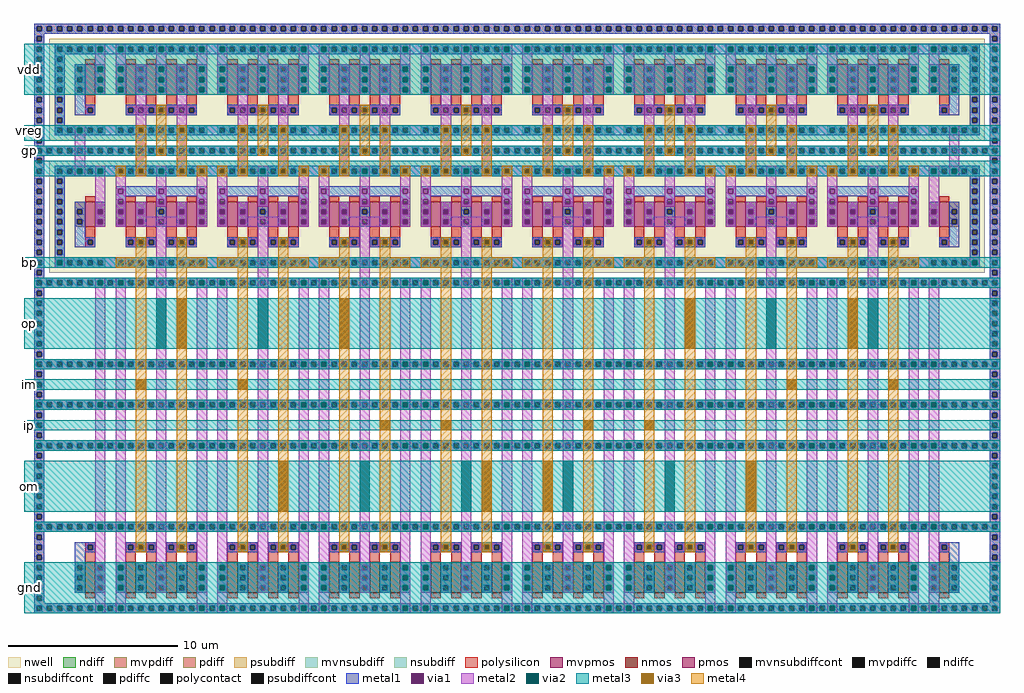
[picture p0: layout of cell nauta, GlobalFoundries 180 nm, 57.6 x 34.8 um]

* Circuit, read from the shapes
.subckt nauta ip im op om vdd gp bp vreg gnd
XM1 gnd nauta_edge_0/lo nauta_edge_0/lo gnd nfet_03v3 w=1.8u l=0.6u
XM2 nauta_cell_0/dl im gnd gnd nfet_03v3 w=1.8u l=0.6u
XM3 op im nauta_cell_0/dl gnd nfet_03v3 w=1.8u l=0.6u
XM4 nauta_cell_0/dr op op gnd nfet_03v3 w=1.8u l=0.6u
XM5 gnd op nauta_cell_0/dr gnd nfet_03v3 w=1.8u l=0.6u
XM6 nauta_cell_1/dl im gnd gnd nfet_03v3 w=1.8u l=0.6u
XM7 op im nauta_cell_1/dl gnd nfet_03v3 w=1.8u l=0.6u
XM8 nauta_cell_1/dr om op gnd nfet_03v3 w=1.8u l=0.6u
XM9 gnd om nauta_cell_1/dr gnd nfet_03v3 w=1.8u l=0.6u
XM10 nauta_cell_2/dl op gnd gnd nfet_03v3 w=1.8u l=0.6u
XM11 om op nauta_cell_2/dl gnd nfet_03v3 w=1.8u l=0.6u
XM12 nauta_cell_2/dr ip om gnd nfet_03v3 w=1.8u l=0.6u
XM13 gnd ip nauta_cell_2/dr gnd nfet_03v3 w=1.8u l=0.6u
XM14 nauta_cell_3/dl ip gnd gnd nfet_03v3 w=1.8u l=0.6u
XM15 om ip nauta_cell_3/dl gnd nfet_03v3 w=1.8u l=0.6u
XM16 nauta_cell_3/dr om om gnd nfet_03v3 w=1.8u l=0.6u
XM17 gnd om nauta_cell_3/dr gnd nfet_03v3 w=1.8u l=0.6u
XM18 nauta_cell_7/dl om gnd gnd nfet_03v3 w=1.8u l=0.6u
XM19 om om nauta_cell_7/dl gnd nfet_03v3 w=1.8u l=0.6u
XM20 nauta_cell_7/dr ip om gnd nfet_03v3 w=1.8u l=0.6u
XM21 gnd ip nauta_cell_7/dr gnd nfet_03v3 w=1.8u l=0.6u
XM22 nauta_cell_6/dl ip gnd gnd nfet_03v3 w=1.8u l=0.6u
XM23 om ip nauta_cell_6/dl gnd nfet_03v3 w=1.8u l=0.6u
XM24 nauta_cell_6/dr op om gnd nfet_03v3 w=1.8u l=0.6u
XM25 gnd op nauta_cell_6/dr gnd nfet_03v3 w=1.8u l=0.6u
XM26 nauta_cell_5/dl om gnd gnd nfet_03v3 w=1.8u l=0.6u
XM27 op om nauta_cell_5/dl gnd nfet_03v3 w=1.8u l=0.6u
XM28 nauta_cell_5/dr im op gnd nfet_03v3 w=1.8u l=0.6u
XM29 gnd im nauta_cell_5/dr gnd nfet_03v3 w=1.8u l=0.6u
XM30 nauta_cell_4/dl op gnd gnd nfet_03v3 w=1.8u l=0.6u
XM31 op op nauta_cell_4/dl gnd nfet_03v3 w=1.8u l=0.6u
XM32 nauta_cell_4/dr im op gnd nfet_03v3 w=1.8u l=0.6u
XM33 gnd im nauta_cell_4/dr gnd nfet_03v3 w=1.8u l=0.6u
XM34 nauta_edge_1/lo nauta_edge_1/lo gnd gnd nfet_03v3 w=1.8u l=0.6u
XM35 vreg nauta_edge_0/hi nauta_edge_0/hi bp pfet_03v3 w=1.5u l=0.6u
XM36 vdd nauta_edge_0/hih nauta_edge_0/hih vdd pfet_06v0 w=1.8u l=0.6u
XM37 op im vreg bp pfet_03v3 w=1.5u l=0.6u m=8
XM38 vreg gp vdd vdd pfet_06v0 w=1.8u l=0.6u m=32
XM39 op op vreg bp pfet_03v3 w=1.5u l=0.6u m=4
XM40 op om vreg bp pfet_03v3 w=1.5u l=0.6u m=4
XM41 om op vreg bp pfet_03v3 w=1.5u l=0.6u m=4
XM42 om ip vreg bp pfet_03v3 w=1.5u l=0.6u m=8
XM43 om om vreg bp pfet_03v3 w=1.5u l=0.6u m=4
XM44 nauta_edge_1/hi nauta_edge_1/hi vreg bp pfet_03v3 w=1.5u l=0.6u
XM45 nauta_edge_1/hih nauta_edge_1/hih vdd vdd pfet_06v0 w=1.8u l=0.6u
.ends

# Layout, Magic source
magic
tech gf180mcuC
<< metal1 >>
rect -924 240 -912 252
rect -12 240 0 252
<< via2 >>
rect -888 144 -876 204
rect -768 144 -756 204
rect -168 144 -156 204
rect -48 144 -36 204
rect -648 -48 -636 12
rect -528 -48 -516 12
rect -408 -48 -396 12
rect -288 -48 -276 12
<< metal3 >>
rect -1044 444 -1032 504
rect -1044 390 -1032 408
rect -1044 372 -1032 384
rect -1044 240 -1032 252
rect -948 240 -886 252
rect -38 240 24 252
rect -1044 144 -1032 204
rect -1044 96 -1032 108
rect -1044 48 -1032 60
rect -1044 -48 -1032 12
rect -1044 -168 -1032 -108
<< via3 >>
rect -864 144 -852 204
rect -672 144 -660 204
rect -264 144 -252 204
rect -72 144 -60 204
rect -912 96 -900 108
rect -792 96 -780 108
rect -144 96 -132 108
rect -24 96 -12 108
rect -624 48 -612 60
rect -552 48 -540 60
rect -384 48 -372 60
rect -312 48 -300 60
rect -744 -48 -732 12
rect -504 -48 -492 12
rect -432 -48 -420 12
rect -192 -48 -180 12
use nauta_cell  nauta_cell_0
transform 1 0 -228 0 1 -36
box -720 -132 -588 564
use nauta_cell  nauta_cell_1
transform 1 0 -108 0 1 -36
box -720 -132 -588 564
use nauta_cell  nauta_cell_2
transform 1 0 12 0 1 -36
box -720 -132 -588 564
use nauta_cell  nauta_cell_3
transform 1 0 132 0 1 -36
box -720 -132 -588 564
use nauta_cell  nauta_cell_4
transform 1 0 612 0 1 -36
box -720 -132 -588 564
use nauta_cell  nauta_cell_5
transform 1 0 492 0 1 -36
box -720 -132 -588 564
use nauta_cell  nauta_cell_6
transform 1 0 372 0 1 -36
box -720 -132 -588 564
use nauta_cell  nauta_cell_7
transform 1 0 252 0 1 -36
box -720 -132 -588 564
use nauta_edge  nauta_edge_0
transform 1 0 -276 0 1 -36
box -756 -132 -660 564
use nauta_edge  nauta_edge_1
transform -1 0 -648 0 1 -36
box -756 -132 -660 564
<< labels >>
rlabel metal3 -1044 48 -1032 60 0 ip
port 1 nsew
rlabel metal3 -1044 96 -1032 108 0 im
port 2 nsew
rlabel metal3 -1044 144 -1032 204 0 op
port 3 nsew
rlabel metal3 -1044 -48 -1032 12 0 om
port 4 nsew
rlabel metal3 -1044 444 -1032 504 0 vdd
port 5 nsew
rlabel metal3 -1044 372 -1032 384 0 gp
port 6 nsew
rlabel metal3 -1044 240 -1032 252 0 bp
port 7 nsew
rlabel metal3 -1044 396 -1032 408 0 vreg
port 8 nsew
rlabel metal3 -1044 -168 -1032 -108 0 gnd
port 9 nsew
<< end >>

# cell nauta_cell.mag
magic
tech gf180mcuC
<< nwell >>
rect -720 426 -588 546
rect -720 270 -588 402
<< nmos >>
rect -696 -108 -684 -72
rect -672 -108 -660 -72
rect -648 -108 -636 -72
rect -624 -108 -612 -72
<< pmos >>
rect -696 324 -684 354
rect -672 324 -660 354
rect -648 324 -636 354
rect -624 324 -612 354
<< mvpmos >>
rect -696 480 -684 516
rect -672 480 -660 516
rect -648 480 -636 516
rect -624 480 -612 516
<< ndiff >>
rect -708 -75 -696 -72
rect -708 -81 -705 -75
rect -699 -81 -696 -75
rect -708 -87 -696 -81
rect -708 -93 -705 -87
rect -699 -93 -696 -87
rect -708 -99 -696 -93
rect -708 -105 -705 -99
rect -699 -105 -696 -99
rect -708 -108 -696 -105
rect -684 -75 -672 -72
rect -684 -81 -681 -75
rect -675 -81 -672 -75
rect -684 -87 -672 -81
rect -684 -93 -681 -87
rect -675 -93 -672 -87
rect -684 -99 -672 -93
rect -684 -105 -681 -99
rect -675 -105 -672 -99
rect -684 -108 -672 -105
rect -660 -75 -648 -72
rect -660 -81 -657 -75
rect -651 -81 -648 -75
rect -660 -87 -648 -81
rect -660 -93 -657 -87
rect -651 -93 -648 -87
rect -660 -99 -648 -93
rect -660 -105 -657 -99
rect -651 -105 -648 -99
rect -660 -108 -648 -105
rect -636 -75 -624 -72
rect -636 -81 -633 -75
rect -627 -81 -624 -75
rect -636 -87 -624 -81
rect -636 -93 -633 -87
rect -627 -93 -624 -87
rect -636 -99 -624 -93
rect -636 -105 -633 -99
rect -627 -105 -624 -99
rect -636 -108 -624 -105
rect -612 -75 -600 -72
rect -612 -81 -609 -75
rect -603 -81 -600 -75
rect -612 -87 -600 -81
rect -612 -93 -609 -87
rect -603 -93 -600 -87
rect -612 -99 -600 -93
rect -612 -105 -609 -99
rect -603 -105 -600 -99
rect -612 -108 -600 -105
<< pdiff >>
rect -708 345 -696 354
rect -708 339 -705 345
rect -699 339 -696 345
rect -708 333 -696 339
rect -708 327 -705 333
rect -699 327 -696 333
rect -708 324 -696 327
rect -684 345 -672 354
rect -684 339 -681 345
rect -675 339 -672 345
rect -684 333 -672 339
rect -684 327 -681 333
rect -675 327 -672 333
rect -684 324 -672 327
rect -660 345 -648 354
rect -660 339 -657 345
rect -651 339 -648 345
rect -660 333 -648 339
rect -660 327 -657 333
rect -651 327 -648 333
rect -660 324 -648 327
rect -636 345 -624 354
rect -636 339 -633 345
rect -627 339 -624 345
rect -636 333 -624 339
rect -636 327 -633 333
rect -627 327 -624 333
rect -636 324 -624 327
rect -612 345 -600 354
rect -612 339 -609 345
rect -603 339 -600 345
rect -612 333 -600 339
rect -612 327 -609 333
rect -603 327 -600 333
rect -612 324 -600 327
<< mvpdiff >>
rect -708 513 -696 516
rect -708 507 -705 513
rect -699 507 -696 513
rect -708 501 -696 507
rect -708 495 -705 501
rect -699 495 -696 501
rect -708 489 -696 495
rect -708 483 -705 489
rect -699 483 -696 489
rect -708 480 -696 483
rect -684 513 -672 516
rect -684 507 -681 513
rect -675 507 -672 513
rect -684 501 -672 507
rect -684 495 -681 501
rect -675 495 -672 501
rect -684 489 -672 495
rect -684 483 -681 489
rect -675 483 -672 489
rect -684 480 -672 483
rect -660 513 -648 516
rect -660 507 -657 513
rect -651 507 -648 513
rect -660 501 -648 507
rect -660 495 -657 501
rect -651 495 -648 501
rect -660 489 -648 495
rect -660 483 -657 489
rect -651 483 -648 489
rect -660 480 -648 483
rect -636 513 -624 516
rect -636 507 -633 513
rect -627 507 -624 513
rect -636 501 -624 507
rect -636 495 -633 501
rect -627 495 -624 501
rect -636 489 -624 495
rect -636 483 -633 489
rect -627 483 -624 489
rect -636 480 -624 483
rect -612 513 -600 516
rect -612 507 -609 513
rect -603 507 -600 513
rect -612 501 -600 507
rect -612 495 -609 501
rect -603 495 -600 501
rect -612 489 -600 495
rect -612 483 -609 489
rect -603 483 -600 489
rect -612 480 -600 483
<< ndiffc >>
rect -705 -81 -699 -75
rect -705 -93 -699 -87
rect -705 -105 -699 -99
rect -681 -81 -675 -75
rect -681 -93 -675 -87
rect -681 -105 -675 -99
rect -657 -81 -651 -75
rect -657 -93 -651 -87
rect -657 -105 -651 -99
rect -633 -81 -627 -75
rect -633 -93 -627 -87
rect -633 -105 -627 -99
rect -609 -81 -603 -75
rect -609 -93 -603 -87
rect -609 -105 -603 -99
<< pdiffc >>
rect -705 339 -699 345
rect -705 327 -699 333
rect -681 339 -675 345
rect -681 327 -675 333
rect -657 339 -651 345
rect -657 327 -651 333
rect -633 339 -627 345
rect -633 327 -627 333
rect -609 339 -603 345
rect -609 327 -603 333
<< mvpdiffc >>
rect -705 507 -699 513
rect -705 495 -699 501
rect -705 483 -699 489
rect -681 507 -675 513
rect -681 495 -675 501
rect -681 483 -675 489
rect -657 507 -651 513
rect -657 495 -651 501
rect -657 483 -651 489
rect -633 507 -627 513
rect -633 495 -627 501
rect -633 483 -627 489
rect -609 507 -603 513
rect -609 495 -603 501
rect -609 483 -603 489
<< psubdiff >>
rect -720 561 -588 564
rect -720 555 -717 561
rect -711 555 -705 561
rect -699 555 -693 561
rect -687 555 -681 561
rect -675 555 -669 561
rect -663 555 -657 561
rect -651 555 -645 561
rect -639 555 -633 561
rect -627 555 -621 561
rect -615 555 -609 561
rect -603 555 -597 561
rect -591 555 -588 561
rect -720 552 -588 555
rect -720 417 -588 420
rect -720 411 -717 417
rect -711 411 -705 417
rect -699 411 -693 417
rect -687 411 -681 417
rect -675 411 -669 417
rect -663 411 -657 417
rect -651 411 -645 417
rect -639 411 -633 417
rect -627 411 -621 417
rect -615 411 -609 417
rect -603 411 -597 417
rect -591 411 -588 417
rect -720 408 -588 411
rect -720 261 -588 264
rect -720 255 -717 261
rect -711 255 -705 261
rect -699 255 -693 261
rect -687 255 -681 261
rect -675 255 -669 261
rect -663 255 -657 261
rect -651 255 -645 261
rect -639 255 -633 261
rect -627 255 -621 261
rect -615 255 -609 261
rect -603 255 -597 261
rect -591 255 -588 261
rect -720 252 -588 255
rect -720 165 -588 168
rect -720 159 -717 165
rect -711 159 -705 165
rect -699 159 -693 165
rect -687 159 -681 165
rect -675 159 -669 165
rect -663 159 -657 165
rect -651 159 -645 165
rect -639 159 -633 165
rect -627 159 -621 165
rect -615 159 -609 165
rect -603 159 -597 165
rect -591 159 -588 165
rect -720 156 -588 159
rect -720 117 -588 120
rect -720 111 -717 117
rect -711 111 -705 117
rect -699 111 -693 117
rect -687 111 -681 117
rect -675 111 -669 117
rect -663 111 -657 117
rect -651 111 -645 117
rect -639 111 -633 117
rect -627 111 -621 117
rect -615 111 -609 117
rect -603 111 -597 117
rect -591 111 -588 117
rect -720 108 -588 111
rect -720 69 -588 72
rect -720 63 -717 69
rect -711 63 -705 69
rect -699 63 -693 69
rect -687 63 -681 69
rect -675 63 -669 69
rect -663 63 -657 69
rect -651 63 -645 69
rect -639 63 -633 69
rect -627 63 -621 69
rect -615 63 -609 69
rect -603 63 -597 69
rect -591 63 -588 69
rect -720 60 -588 63
rect -720 -27 -588 -24
rect -720 -33 -717 -27
rect -711 -33 -705 -27
rect -699 -33 -693 -27
rect -687 -33 -681 -27
rect -675 -33 -669 -27
rect -663 -33 -657 -27
rect -651 -33 -645 -27
rect -639 -33 -633 -27
rect -627 -33 -621 -27
rect -615 -33 -609 -27
rect -603 -33 -597 -27
rect -591 -33 -588 -27
rect -720 -36 -588 -33
rect -720 -123 -588 -120
rect -720 -129 -717 -123
rect -711 -129 -705 -123
rect -699 -129 -693 -123
rect -687 -129 -681 -123
rect -675 -129 -669 -123
rect -663 -129 -657 -123
rect -651 -129 -645 -123
rect -639 -129 -633 -123
rect -627 -129 -621 -123
rect -615 -129 -609 -123
rect -603 -129 -597 -123
rect -591 -129 -588 -123
rect -720 -132 -588 -129
<< nsubdiff >>
rect -708 393 -600 396
rect -708 387 -705 393
rect -699 387 -693 393
rect -687 387 -681 393
rect -675 387 -669 393
rect -663 387 -657 393
rect -651 387 -645 393
rect -639 387 -633 393
rect -627 387 -621 393
rect -615 387 -609 393
rect -603 387 -600 393
rect -708 384 -600 387
rect -708 285 -600 288
rect -708 279 -705 285
rect -699 279 -693 285
rect -687 279 -681 285
rect -675 279 -669 285
rect -663 279 -657 285
rect -651 279 -645 285
rect -639 279 -633 285
rect -627 279 -621 285
rect -615 279 -609 285
rect -603 279 -600 285
rect -708 276 -600 279
<< mvnsubdiff >>
rect -708 537 -600 540
rect -708 531 -705 537
rect -699 531 -693 537
rect -687 531 -681 537
rect -675 531 -669 537
rect -663 531 -657 537
rect -651 531 -645 537
rect -639 531 -633 537
rect -627 531 -621 537
rect -615 531 -609 537
rect -603 531 -600 537
rect -708 528 -600 531
rect -708 441 -600 444
rect -708 435 -705 441
rect -699 435 -693 441
rect -687 435 -681 441
rect -675 435 -669 441
rect -663 435 -657 441
rect -651 435 -645 441
rect -639 435 -633 441
rect -627 435 -621 441
rect -615 435 -609 441
rect -603 435 -600 441
rect -708 432 -600 435
<< psubdiffcont >>
rect -717 555 -711 561
rect -705 555 -699 561
rect -693 555 -687 561
rect -681 555 -675 561
rect -669 555 -663 561
rect -657 555 -651 561
rect -645 555 -639 561
rect -633 555 -627 561
rect -621 555 -615 561
rect -609 555 -603 561
rect -597 555 -591 561
rect -717 411 -711 417
rect -705 411 -699 417
rect -693 411 -687 417
rect -681 411 -675 417
rect -669 411 -663 417
rect -657 411 -651 417
rect -645 411 -639 417
rect -633 411 -627 417
rect -621 411 -615 417
rect -609 411 -603 417
rect -597 411 -591 417
rect -717 255 -711 261
rect -705 255 -699 261
rect -693 255 -687 261
rect -681 255 -675 261
rect -669 255 -663 261
rect -657 255 -651 261
rect -645 255 -639 261
rect -633 255 -627 261
rect -621 255 -615 261
rect -609 255 -603 261
rect -597 255 -591 261
rect -717 159 -711 165
rect -705 159 -699 165
rect -693 159 -687 165
rect -681 159 -675 165
rect -669 159 -663 165
rect -657 159 -651 165
rect -645 159 -639 165
rect -633 159 -627 165
rect -621 159 -615 165
rect -609 159 -603 165
rect -597 159 -591 165
rect -717 111 -711 117
rect -705 111 -699 117
rect -693 111 -687 117
rect -681 111 -675 117
rect -669 111 -663 117
rect -657 111 -651 117
rect -645 111 -639 117
rect -633 111 -627 117
rect -621 111 -615 117
rect -609 111 -603 117
rect -597 111 -591 117
rect -717 63 -711 69
rect -705 63 -699 69
rect -693 63 -687 69
rect -681 63 -675 69
rect -669 63 -663 69
rect -657 63 -651 69
rect -645 63 -639 69
rect -633 63 -627 69
rect -621 63 -615 69
rect -609 63 -603 69
rect -597 63 -591 69
rect -717 -33 -711 -27
rect -705 -33 -699 -27
rect -693 -33 -687 -27
rect -681 -33 -675 -27
rect -669 -33 -663 -27
rect -657 -33 -651 -27
rect -645 -33 -639 -27
rect -633 -33 -627 -27
rect -621 -33 -615 -27
rect -609 -33 -603 -27
rect -597 -33 -591 -27
rect -717 -129 -711 -123
rect -705 -129 -699 -123
rect -693 -129 -687 -123
rect -681 -129 -675 -123
rect -669 -129 -663 -123
rect -657 -129 -651 -123
rect -645 -129 -639 -123
rect -633 -129 -627 -123
rect -621 -129 -615 -123
rect -609 -129 -603 -123
rect -597 -129 -591 -123
<< nsubdiffcont >>
rect -705 387 -699 393
rect -693 387 -687 393
rect -681 387 -675 393
rect -669 387 -663 393
rect -657 387 -651 393
rect -645 387 -639 393
rect -633 387 -627 393
rect -621 387 -615 393
rect -609 387 -603 393
rect -705 279 -699 285
rect -693 279 -687 285
rect -681 279 -675 285
rect -669 279 -663 285
rect -657 279 -651 285
rect -645 279 -639 285
rect -633 279 -627 285
rect -621 279 -615 285
rect -609 279 -603 285
<< mvnsubdiffcont >>
rect -705 531 -699 537
rect -693 531 -687 537
rect -681 531 -675 537
rect -669 531 -663 537
rect -657 531 -651 537
rect -645 531 -639 537
rect -633 531 -627 537
rect -621 531 -615 537
rect -609 531 -603 537
rect -705 435 -699 441
rect -693 435 -687 441
rect -681 435 -675 441
rect -669 435 -663 441
rect -657 435 -651 441
rect -645 435 -639 441
rect -633 435 -627 441
rect -621 435 -615 441
rect -609 435 -603 441
<< polysilicon >>
rect -696 516 -684 522
rect -672 516 -660 522
rect -648 516 -636 522
rect -624 516 -612 522
rect -696 468 -684 480
rect -672 468 -660 480
rect -648 468 -636 480
rect -624 468 -612 480
rect -696 465 -612 468
rect -696 459 -693 465
rect -687 459 -681 465
rect -675 459 -669 465
rect -663 459 -657 465
rect -651 459 -645 465
rect -639 459 -633 465
rect -627 459 -621 465
rect -615 459 -612 465
rect -696 456 -612 459
rect -696 354 -684 360
rect -672 354 -660 360
rect -648 354 -636 360
rect -624 354 -612 360
rect -696 312 -684 324
rect -672 312 -660 324
rect -696 309 -660 312
rect -696 303 -693 309
rect -687 303 -681 309
rect -675 303 -669 309
rect -663 303 -660 309
rect -696 300 -660 303
rect -648 312 -636 324
rect -624 312 -612 324
rect -648 309 -612 312
rect -648 303 -645 309
rect -639 303 -633 309
rect -627 303 -621 309
rect -615 303 -612 309
rect -648 300 -612 303
rect -696 -51 -660 -48
rect -696 -57 -693 -51
rect -687 -57 -681 -51
rect -675 -57 -669 -51
rect -663 -57 -660 -51
rect -696 -60 -660 -57
rect -696 -72 -684 -60
rect -672 -72 -660 -60
rect -648 -51 -612 -48
rect -648 -57 -645 -51
rect -639 -57 -633 -51
rect -627 -57 -621 -51
rect -615 -57 -612 -51
rect -648 -60 -612 -57
rect -648 -72 -636 -60
rect -624 -72 -612 -60
rect -696 -114 -684 -108
rect -672 -114 -660 -108
rect -648 -114 -636 -108
rect -624 -114 -612 -108
<< polycontact >>
rect -693 459 -687 465
rect -681 459 -675 465
rect -669 459 -663 465
rect -657 459 -651 465
rect -645 459 -639 465
rect -633 459 -627 465
rect -621 459 -615 465
rect -693 303 -687 309
rect -681 303 -675 309
rect -669 303 -663 309
rect -645 303 -639 309
rect -633 303 -627 309
rect -621 303 -615 309
rect -693 -57 -687 -51
rect -681 -57 -675 -51
rect -669 -57 -663 -51
rect -645 -57 -639 -51
rect -633 -57 -627 -51
rect -621 -57 -615 -51
<< metal1 >>
rect -720 561 -588 564
rect -720 555 -717 561
rect -711 555 -705 561
rect -699 555 -693 561
rect -687 555 -681 561
rect -675 555 -669 561
rect -663 555 -657 561
rect -651 555 -645 561
rect -639 555 -633 561
rect -627 555 -621 561
rect -615 555 -609 561
rect -603 555 -597 561
rect -591 555 -588 561
rect -720 552 -588 555
rect -720 537 -588 540
rect -720 531 -705 537
rect -699 531 -693 537
rect -687 531 -681 537
rect -675 531 -669 537
rect -663 531 -657 537
rect -651 531 -645 537
rect -639 531 -633 537
rect -627 531 -621 537
rect -615 531 -609 537
rect -603 531 -588 537
rect -720 528 -588 531
rect -708 513 -696 516
rect -708 507 -705 513
rect -699 507 -696 513
rect -708 501 -696 507
rect -708 495 -705 501
rect -699 495 -696 501
rect -708 489 -696 495
rect -708 483 -705 489
rect -699 483 -696 489
rect -708 480 -696 483
rect -684 513 -672 516
rect -684 507 -681 513
rect -675 507 -672 513
rect -684 501 -672 507
rect -684 495 -681 501
rect -675 495 -672 501
rect -684 489 -672 495
rect -684 483 -681 489
rect -675 483 -672 489
rect -684 480 -672 483
rect -660 513 -648 516
rect -660 507 -657 513
rect -651 507 -648 513
rect -660 501 -648 507
rect -660 495 -657 501
rect -651 495 -648 501
rect -660 489 -648 495
rect -660 483 -657 489
rect -651 483 -648 489
rect -660 480 -648 483
rect -636 513 -624 516
rect -636 507 -633 513
rect -627 507 -624 513
rect -636 501 -624 507
rect -636 495 -633 501
rect -627 495 -624 501
rect -636 489 -624 495
rect -636 483 -633 489
rect -627 483 -624 489
rect -636 480 -624 483
rect -612 513 -600 516
rect -612 507 -609 513
rect -603 507 -600 513
rect -612 501 -600 507
rect -612 495 -609 501
rect -603 495 -600 501
rect -612 489 -600 495
rect -612 483 -609 489
rect -603 483 -600 489
rect -612 480 -600 483
rect -696 465 -612 468
rect -696 459 -693 465
rect -687 459 -681 465
rect -675 459 -669 465
rect -663 459 -657 465
rect -651 459 -645 465
rect -639 459 -633 465
rect -627 459 -621 465
rect -615 459 -612 465
rect -696 456 -612 459
rect -720 441 -588 444
rect -720 435 -705 441
rect -699 435 -693 441
rect -687 435 -681 441
rect -675 435 -669 441
rect -663 435 -657 441
rect -651 435 -645 441
rect -639 435 -633 441
rect -627 435 -621 441
rect -615 435 -609 441
rect -603 435 -588 441
rect -720 432 -588 435
rect -720 417 -588 420
rect -720 411 -717 417
rect -711 411 -705 417
rect -699 411 -693 417
rect -687 411 -681 417
rect -675 411 -669 417
rect -663 411 -657 417
rect -651 411 -645 417
rect -639 411 -633 417
rect -627 411 -621 417
rect -615 411 -609 417
rect -603 411 -597 417
rect -591 411 -588 417
rect -720 408 -588 411
rect -720 393 -588 396
rect -720 387 -705 393
rect -699 387 -693 393
rect -687 387 -681 393
rect -675 387 -669 393
rect -663 387 -657 393
rect -651 387 -645 393
rect -639 387 -633 393
rect -627 387 -621 393
rect -615 387 -609 393
rect -603 387 -588 393
rect -720 384 -588 387
rect -708 369 -600 372
rect -708 363 -705 369
rect -699 363 -657 369
rect -651 363 -609 369
rect -603 363 -600 369
rect -708 360 -600 363
rect -708 357 -696 360
rect -708 351 -705 357
rect -699 351 -696 357
rect -660 357 -648 360
rect -708 345 -696 351
rect -708 339 -705 345
rect -699 339 -696 345
rect -708 333 -696 339
rect -708 327 -705 333
rect -699 327 -696 333
rect -708 324 -696 327
rect -684 345 -672 354
rect -684 339 -681 345
rect -675 339 -672 345
rect -684 333 -672 339
rect -684 327 -681 333
rect -675 327 -672 333
rect -684 324 -672 327
rect -660 351 -657 357
rect -651 351 -648 357
rect -612 357 -600 360
rect -660 345 -648 351
rect -660 339 -657 345
rect -651 339 -648 345
rect -660 333 -648 339
rect -660 327 -657 333
rect -651 327 -648 333
rect -660 324 -648 327
rect -636 345 -624 354
rect -636 339 -633 345
rect -627 339 -624 345
rect -636 333 -624 339
rect -636 327 -633 333
rect -627 327 -624 333
rect -636 324 -624 327
rect -612 351 -609 357
rect -603 351 -600 357
rect -612 345 -600 351
rect -612 339 -609 345
rect -603 339 -600 345
rect -612 333 -600 339
rect -612 327 -609 333
rect -603 327 -600 333
rect -612 324 -600 327
rect -696 309 -660 312
rect -696 303 -693 309
rect -687 303 -681 309
rect -675 303 -669 309
rect -663 303 -660 309
rect -696 300 -660 303
rect -648 309 -612 312
rect -648 303 -645 309
rect -639 303 -633 309
rect -627 303 -621 309
rect -615 303 -612 309
rect -648 300 -612 303
rect -720 285 -588 288
rect -720 279 -705 285
rect -699 279 -693 285
rect -687 279 -681 285
rect -675 279 -669 285
rect -663 279 -657 285
rect -651 279 -645 285
rect -639 279 -633 285
rect -627 279 -621 285
rect -615 279 -609 285
rect -603 279 -588 285
rect -720 276 -588 279
rect -720 261 -588 264
rect -720 255 -717 261
rect -711 255 -705 261
rect -699 255 -693 261
rect -687 255 -681 261
rect -675 255 -669 261
rect -663 255 -657 261
rect -651 255 -645 261
rect -639 255 -633 261
rect -627 255 -621 261
rect -615 255 -609 261
rect -603 255 -597 261
rect -591 255 -588 261
rect -720 252 -588 255
rect -720 165 -588 168
rect -720 159 -717 165
rect -711 159 -705 165
rect -699 159 -693 165
rect -687 159 -681 165
rect -675 159 -669 165
rect -663 159 -657 165
rect -651 159 -645 165
rect -639 159 -633 165
rect -627 159 -621 165
rect -615 159 -609 165
rect -603 159 -597 165
rect -591 159 -588 165
rect -720 156 -588 159
rect -720 117 -588 120
rect -720 111 -717 117
rect -711 111 -705 117
rect -699 111 -693 117
rect -687 111 -681 117
rect -675 111 -669 117
rect -663 111 -657 117
rect -651 111 -645 117
rect -639 111 -633 117
rect -627 111 -621 117
rect -615 111 -609 117
rect -603 111 -597 117
rect -591 111 -588 117
rect -720 108 -588 111
rect -720 69 -588 72
rect -720 63 -717 69
rect -711 63 -705 69
rect -699 63 -693 69
rect -687 63 -681 69
rect -675 63 -669 69
rect -663 63 -657 69
rect -651 63 -645 69
rect -639 63 -633 69
rect -627 63 -621 69
rect -615 63 -609 69
rect -603 63 -597 69
rect -591 63 -588 69
rect -720 60 -588 63
rect -720 -27 -588 -24
rect -720 -33 -717 -27
rect -711 -33 -705 -27
rect -699 -33 -693 -27
rect -687 -33 -681 -27
rect -675 -33 -669 -27
rect -663 -33 -657 -27
rect -651 -33 -645 -27
rect -639 -33 -633 -27
rect -627 -33 -621 -27
rect -615 -33 -609 -27
rect -603 -33 -597 -27
rect -591 -33 -588 -27
rect -720 -36 -588 -33
rect -696 -51 -660 -48
rect -696 -57 -693 -51
rect -687 -57 -681 -51
rect -675 -57 -669 -51
rect -663 -57 -660 -51
rect -696 -60 -660 -57
rect -648 -51 -612 -48
rect -648 -57 -645 -51
rect -639 -57 -633 -51
rect -627 -57 -621 -51
rect -615 -57 -612 -51
rect -648 -60 -612 -57
rect -708 -75 -696 -72
rect -708 -81 -705 -75
rect -699 -81 -696 -75
rect -708 -87 -696 -81
rect -708 -93 -705 -87
rect -699 -93 -696 -87
rect -708 -99 -696 -93
rect -708 -105 -705 -99
rect -699 -105 -696 -99
rect -708 -108 -696 -105
rect -684 -75 -672 -72
rect -684 -81 -681 -75
rect -675 -81 -672 -75
rect -684 -87 -672 -81
rect -684 -93 -681 -87
rect -675 -93 -672 -87
rect -684 -99 -672 -93
rect -684 -105 -681 -99
rect -675 -105 -672 -99
rect -684 -108 -672 -105
rect -660 -75 -648 -72
rect -660 -81 -657 -75
rect -651 -81 -648 -75
rect -660 -87 -648 -81
rect -660 -93 -657 -87
rect -651 -93 -648 -87
rect -660 -99 -648 -93
rect -660 -105 -657 -99
rect -651 -105 -648 -99
rect -660 -108 -648 -105
rect -636 -75 -624 -72
rect -636 -81 -633 -75
rect -627 -81 -624 -75
rect -636 -87 -624 -81
rect -636 -93 -633 -87
rect -627 -93 -624 -87
rect -636 -99 -624 -93
rect -636 -105 -633 -99
rect -627 -105 -624 -99
rect -636 -108 -624 -105
rect -612 -75 -600 -72
rect -612 -81 -609 -75
rect -603 -81 -600 -75
rect -612 -87 -600 -81
rect -612 -93 -609 -87
rect -603 -93 -600 -87
rect -612 -99 -600 -93
rect -612 -105 -609 -99
rect -603 -105 -600 -99
rect -612 -108 -600 -105
rect -720 -123 -588 -120
rect -720 -129 -717 -123
rect -711 -129 -705 -123
rect -699 -129 -693 -123
rect -687 -129 -681 -123
rect -675 -129 -669 -123
rect -663 -129 -657 -123
rect -651 -129 -645 -123
rect -639 -129 -633 -123
rect -627 -129 -621 -123
rect -615 -129 -609 -123
rect -603 -129 -597 -123
rect -591 -129 -588 -123
rect -720 -132 -588 -129
<< via1 >>
rect -705 531 -699 537
rect -657 531 -651 537
rect -609 531 -603 537
rect -705 507 -699 513
rect -705 495 -699 501
rect -705 483 -699 489
rect -681 507 -675 513
rect -681 495 -675 501
rect -681 483 -675 489
rect -657 507 -651 513
rect -657 495 -651 501
rect -657 483 -651 489
rect -633 507 -627 513
rect -633 495 -627 501
rect -633 483 -627 489
rect -609 507 -603 513
rect -609 495 -603 501
rect -609 483 -603 489
rect -657 459 -651 465
rect -705 363 -699 369
rect -657 363 -651 369
rect -609 363 -603 369
rect -705 351 -699 357
rect -705 339 -699 345
rect -705 327 -699 333
rect -681 339 -675 345
rect -681 327 -675 333
rect -657 351 -651 357
rect -633 339 -627 345
rect -633 327 -627 333
rect -609 351 -603 357
rect -609 339 -603 345
rect -609 327 -603 333
rect -681 303 -675 309
rect -633 303 -627 309
rect -705 279 -699 285
rect -609 279 -603 285
rect -705 255 -699 261
rect -609 255 -603 261
rect -705 159 -699 165
rect -609 159 -603 165
rect -705 111 -699 117
rect -609 111 -603 117
rect -705 63 -699 69
rect -609 63 -603 69
rect -705 -33 -699 -27
rect -609 -33 -603 -27
rect -681 -57 -675 -51
rect -633 -57 -627 -51
rect -705 -81 -699 -75
rect -705 -93 -699 -87
rect -705 -105 -699 -99
rect -657 -81 -651 -75
rect -657 -93 -651 -87
rect -657 -105 -651 -99
rect -609 -81 -603 -75
rect -609 -93 -603 -87
rect -609 -105 -603 -99
rect -705 -129 -699 -123
rect -609 -129 -603 -123
<< metal2 >>
rect -708 537 -696 540
rect -708 531 -705 537
rect -699 531 -696 537
rect -708 513 -696 531
rect -660 537 -648 540
rect -660 531 -657 537
rect -651 531 -648 537
rect -708 507 -705 513
rect -699 507 -696 513
rect -708 501 -696 507
rect -708 495 -705 501
rect -699 495 -696 501
rect -708 489 -696 495
rect -708 483 -705 489
rect -699 483 -696 489
rect -708 480 -696 483
rect -684 513 -672 516
rect -684 507 -681 513
rect -675 507 -672 513
rect -684 501 -672 507
rect -684 495 -681 501
rect -675 495 -672 501
rect -684 489 -672 495
rect -684 483 -681 489
rect -675 483 -672 489
rect -684 441 -672 483
rect -660 513 -648 531
rect -612 537 -600 540
rect -612 531 -609 537
rect -603 531 -600 537
rect -660 507 -657 513
rect -651 507 -648 513
rect -660 501 -648 507
rect -660 495 -657 501
rect -651 495 -648 501
rect -660 489 -648 495
rect -660 483 -657 489
rect -651 483 -648 489
rect -660 480 -648 483
rect -636 513 -624 516
rect -636 507 -633 513
rect -627 507 -624 513
rect -636 501 -624 507
rect -636 495 -633 501
rect -627 495 -624 501
rect -636 489 -624 495
rect -636 483 -633 489
rect -627 483 -624 489
rect -660 465 -648 468
rect -660 459 -657 465
rect -651 459 -648 465
rect -660 456 -648 459
rect -684 435 -681 441
rect -675 435 -672 441
rect -708 393 -696 396
rect -708 387 -705 393
rect -699 387 -696 393
rect -708 369 -696 387
rect -684 393 -672 435
rect -636 441 -624 483
rect -612 513 -600 531
rect -612 507 -609 513
rect -603 507 -600 513
rect -612 501 -600 507
rect -612 495 -609 501
rect -603 495 -600 501
rect -612 489 -600 495
rect -612 483 -609 489
rect -603 483 -600 489
rect -612 480 -600 483
rect -636 435 -633 441
rect -627 435 -624 441
rect -684 387 -681 393
rect -675 387 -672 393
rect -684 384 -672 387
rect -660 393 -648 396
rect -660 387 -657 393
rect -651 387 -648 393
rect -708 363 -705 369
rect -699 363 -696 369
rect -708 357 -696 363
rect -708 351 -705 357
rect -699 351 -696 357
rect -660 369 -648 387
rect -636 393 -624 435
rect -636 387 -633 393
rect -627 387 -624 393
rect -636 384 -624 387
rect -612 393 -600 396
rect -612 387 -609 393
rect -603 387 -600 393
rect -660 363 -657 369
rect -651 363 -648 369
rect -660 357 -648 363
rect -708 345 -696 351
rect -708 339 -705 345
rect -699 339 -696 345
rect -708 333 -696 339
rect -708 327 -705 333
rect -699 327 -696 333
rect -708 324 -696 327
rect -684 345 -672 354
rect -660 351 -657 357
rect -651 351 -648 357
rect -612 369 -600 387
rect -612 363 -609 369
rect -603 363 -600 369
rect -612 357 -600 363
rect -660 348 -648 351
rect -684 339 -681 345
rect -675 339 -672 345
rect -684 336 -672 339
rect -636 345 -624 354
rect -636 339 -633 345
rect -627 339 -624 345
rect -636 336 -624 339
rect -684 333 -624 336
rect -684 327 -681 333
rect -675 327 -633 333
rect -627 327 -624 333
rect -684 324 -624 327
rect -612 351 -609 357
rect -603 351 -600 357
rect -612 345 -600 351
rect -612 339 -609 345
rect -603 339 -600 345
rect -612 333 -600 339
rect -612 327 -609 333
rect -603 327 -600 333
rect -612 324 -600 327
rect -684 309 -672 312
rect -684 303 -681 309
rect -675 303 -672 309
rect -684 300 -672 303
rect -708 285 -696 288
rect -708 279 -705 285
rect -699 279 -696 285
rect -708 276 -696 279
rect -708 261 -696 264
rect -708 255 -705 261
rect -699 255 -696 261
rect -708 165 -696 255
rect -708 159 -705 165
rect -699 159 -696 165
rect -708 117 -696 159
rect -708 111 -705 117
rect -699 111 -696 117
rect -708 69 -696 111
rect -708 63 -705 69
rect -699 63 -696 69
rect -708 -27 -696 63
rect -708 -33 -705 -27
rect -699 -33 -696 -27
rect -708 -75 -696 -33
rect -684 -51 -672 -48
rect -684 -57 -681 -51
rect -675 -57 -672 -51
rect -684 -60 -672 -57
rect -708 -81 -705 -75
rect -699 -81 -696 -75
rect -708 -87 -696 -81
rect -708 -93 -705 -87
rect -699 -93 -696 -87
rect -708 -99 -696 -93
rect -708 -105 -705 -99
rect -699 -105 -696 -99
rect -708 -123 -696 -105
rect -660 -75 -648 324
rect -636 309 -624 312
rect -636 303 -633 309
rect -627 303 -624 309
rect -636 300 -624 303
rect -612 285 -600 288
rect -612 279 -609 285
rect -603 279 -600 285
rect -612 276 -600 279
rect -612 261 -600 264
rect -612 255 -609 261
rect -603 255 -600 261
rect -612 165 -600 255
rect -612 159 -609 165
rect -603 159 -600 165
rect -612 117 -600 159
rect -612 111 -609 117
rect -603 111 -600 117
rect -612 69 -600 111
rect -612 63 -609 69
rect -603 63 -600 69
rect -612 -27 -600 63
rect -612 -33 -609 -27
rect -603 -33 -600 -27
rect -636 -51 -624 -48
rect -636 -57 -633 -51
rect -627 -57 -624 -51
rect -636 -60 -624 -57
rect -660 -81 -657 -75
rect -651 -81 -648 -75
rect -660 -87 -648 -81
rect -660 -93 -657 -87
rect -651 -93 -648 -87
rect -660 -99 -648 -93
rect -660 -105 -657 -99
rect -651 -105 -648 -99
rect -660 -108 -648 -105
rect -612 -75 -600 -33
rect -612 -81 -609 -75
rect -603 -81 -600 -75
rect -612 -87 -600 -81
rect -612 -93 -609 -87
rect -603 -93 -600 -87
rect -612 -99 -600 -93
rect -612 -105 -609 -99
rect -603 -105 -600 -99
rect -708 -129 -705 -123
rect -699 -129 -696 -123
rect -708 -132 -696 -129
rect -612 -123 -600 -105
rect -612 -129 -609 -123
rect -603 -129 -600 -123
rect -612 -132 -600 -129
<< via2 >>
rect -705 531 -699 537
rect -657 531 -651 537
rect -705 507 -699 513
rect -705 495 -699 501
rect -705 483 -699 489
rect -609 531 -603 537
rect -657 507 -651 513
rect -657 495 -651 501
rect -657 483 -651 489
rect -657 459 -651 465
rect -681 435 -675 441
rect -705 387 -699 393
rect -609 507 -603 513
rect -609 495 -603 501
rect -609 483 -603 489
rect -633 435 -627 441
rect -681 387 -675 393
rect -657 387 -651 393
rect -633 387 -627 393
rect -609 387 -603 393
rect -681 303 -675 309
rect -705 279 -699 285
rect -705 255 -699 261
rect -705 159 -699 165
rect -705 111 -699 117
rect -705 63 -699 69
rect -705 -33 -699 -27
rect -681 -57 -675 -51
rect -705 -81 -699 -75
rect -705 -93 -699 -87
rect -705 -105 -699 -99
rect -633 303 -627 309
rect -609 279 -603 285
rect -609 255 -603 261
rect -609 159 -603 165
rect -609 111 -603 117
rect -609 63 -603 69
rect -609 -33 -603 -27
rect -633 -57 -627 -51
rect -609 -81 -603 -75
rect -609 -93 -603 -87
rect -609 -105 -603 -99
rect -705 -129 -699 -123
rect -609 -129 -603 -123
<< metal3 >>
rect -720 537 -588 540
rect -720 531 -705 537
rect -699 531 -657 537
rect -651 531 -609 537
rect -603 531 -588 537
rect -720 513 -588 531
rect -720 507 -705 513
rect -699 507 -657 513
rect -651 507 -609 513
rect -603 507 -588 513
rect -720 501 -588 507
rect -720 495 -705 501
rect -699 495 -657 501
rect -651 495 -609 501
rect -603 495 -588 501
rect -720 489 -588 495
rect -720 483 -705 489
rect -699 483 -657 489
rect -651 483 -609 489
rect -603 483 -588 489
rect -720 480 -588 483
rect -660 465 -648 468
rect -660 459 -657 465
rect -651 459 -648 465
rect -660 456 -648 459
rect -720 441 -588 444
rect -720 435 -681 441
rect -675 435 -633 441
rect -627 435 -588 441
rect -720 426 -588 435
rect -720 417 -588 420
rect -720 411 -657 417
rect -651 411 -588 417
rect -720 408 -588 411
rect -720 393 -588 402
rect -720 387 -705 393
rect -699 387 -681 393
rect -675 387 -657 393
rect -651 387 -633 393
rect -627 387 -609 393
rect -603 387 -588 393
rect -720 384 -588 387
rect -684 309 -672 312
rect -684 303 -681 309
rect -675 303 -672 309
rect -684 300 -672 303
rect -636 309 -624 312
rect -636 303 -633 309
rect -627 303 -624 309
rect -636 300 -624 303
rect -720 285 -588 288
rect -720 279 -705 285
rect -699 279 -609 285
rect -603 279 -588 285
rect -720 276 -588 279
rect -720 261 -588 264
rect -720 255 -705 261
rect -699 255 -609 261
rect -603 255 -588 261
rect -720 252 -588 255
rect -720 180 -588 240
rect -720 165 -588 168
rect -720 159 -705 165
rect -699 159 -609 165
rect -603 159 -588 165
rect -720 156 -588 159
rect -720 132 -588 144
rect -720 117 -588 120
rect -720 111 -705 117
rect -699 111 -609 117
rect -603 111 -588 117
rect -720 108 -588 111
rect -720 84 -588 96
rect -720 69 -588 72
rect -720 63 -705 69
rect -699 63 -609 69
rect -603 63 -588 69
rect -720 60 -588 63
rect -720 -12 -588 48
rect -720 -27 -588 -24
rect -720 -33 -705 -27
rect -699 -33 -609 -27
rect -603 -33 -588 -27
rect -720 -36 -588 -33
rect -684 -51 -672 -48
rect -684 -57 -681 -51
rect -675 -57 -672 -51
rect -684 -60 -672 -57
rect -636 -51 -624 -48
rect -636 -57 -633 -51
rect -627 -57 -624 -51
rect -636 -60 -624 -57
rect -720 -75 -588 -72
rect -720 -81 -705 -75
rect -699 -81 -609 -75
rect -603 -81 -588 -75
rect -720 -87 -588 -81
rect -720 -93 -705 -87
rect -699 -93 -609 -87
rect -603 -93 -588 -87
rect -720 -99 -588 -93
rect -720 -105 -705 -99
rect -699 -105 -609 -99
rect -603 -105 -588 -99
rect -720 -123 -588 -105
rect -720 -129 -705 -123
rect -699 -129 -609 -123
rect -603 -129 -588 -123
rect -720 -132 -588 -129
<< via3 >>
rect -657 459 -651 465
rect -681 435 -675 441
rect -633 435 -627 441
rect -657 411 -651 417
rect -705 387 -699 393
rect -681 387 -675 393
rect -633 387 -627 393
rect -609 387 -603 393
rect -681 303 -675 309
rect -633 303 -627 309
rect -681 -57 -675 -51
rect -633 -57 -627 -51
<< metal4 >>
rect -660 465 -648 468
rect -660 459 -657 465
rect -651 459 -648 465
rect -684 441 -672 444
rect -684 435 -681 441
rect -675 435 -672 441
rect -708 393 -696 396
rect -708 387 -705 393
rect -699 387 -696 393
rect -708 384 -696 387
rect -684 393 -672 435
rect -660 417 -648 459
rect -660 411 -657 417
rect -651 411 -648 417
rect -660 408 -648 411
rect -636 441 -624 444
rect -636 435 -633 441
rect -627 435 -624 441
rect -684 387 -681 393
rect -675 387 -672 393
rect -684 384 -672 387
rect -636 393 -624 435
rect -636 387 -633 393
rect -627 387 -624 393
rect -636 384 -624 387
rect -612 393 -600 396
rect -612 387 -609 393
rect -603 387 -600 393
rect -612 384 -600 387
rect -684 309 -672 312
rect -684 303 -681 309
rect -675 303 -672 309
rect -684 288 -672 303
rect -708 276 -672 288
rect -684 -51 -672 276
rect -684 -57 -681 -51
rect -675 -57 -672 -51
rect -684 -60 -672 -57
rect -636 309 -624 312
rect -636 303 -633 309
rect -627 303 -624 309
rect -636 288 -624 303
rect -636 276 -600 288
rect -636 -51 -624 276
rect -636 -57 -633 -51
rect -627 -57 -624 -51
rect -636 -60 -624 -57
<< labels >>
rlabel metal4 -684 -12 -672 240 0 inl
port 1 nsew
rlabel metal4 -636 -12 -624 240 0 inr
port 2 nsew
rlabel metal2 -660 -12 -648 240 0 out
port 3 nsew
rlabel metal3 -720 480 -588 540 0 vdd
port 4 nsew
rlabel metal3 -720 408 -708 420 0 gp
port 5 nsew
rlabel metal3 -720 276 -708 288 0 bp
port 6 nsew
rlabel metal3 -720 432 -708 444 0 vreg
port 7 nsew
rlabel metal3 -720 180 -588 240 0 op
port 8 nsew
rlabel metal3 -720 132 -588 144 0 im
port 9 nsew
rlabel metal3 -720 84 -588 96 0 ip
port 10 nsew
rlabel metal3 -720 -12 -588 48 0 om
port 11 nsew
rlabel metal3 -720 -132 -588 -72 0 gnd
port 12 nsew
rlabel metal1 -684 -108 -672 -72 0 dl
rlabel metal1 -636 -108 -624 -72 0 dr
rlabel metal1 -708 408 -696 420 0 gnd
rlabel metal1 -708 552 -696 564 0 gnd
<< end >>

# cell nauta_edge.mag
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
